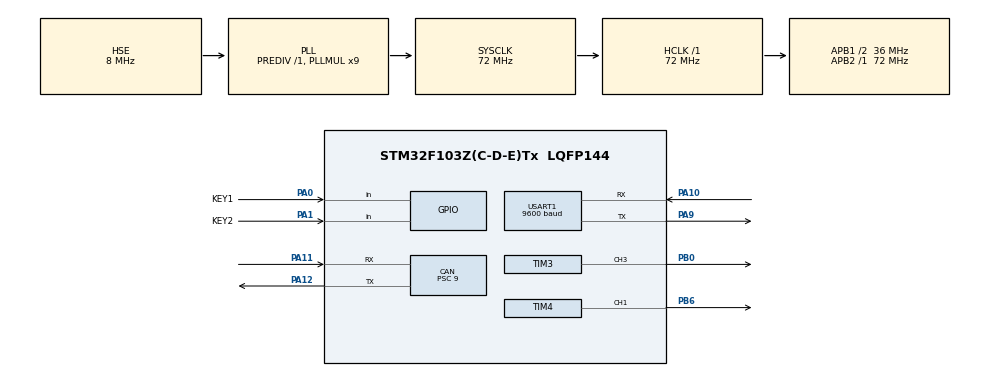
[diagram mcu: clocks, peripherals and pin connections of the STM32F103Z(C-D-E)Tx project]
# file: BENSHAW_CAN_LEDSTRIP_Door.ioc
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CAN.ABOM=ENABLE
CAN.BS1=CAN_BS1_5TQ
CAN.BS2=CAN_BS2_2TQ
CAN.CalculateTimeBit=750
CAN.CalculateTimeQuantum=250.0
CAN.Prescaler=9
CAN.SJW=CAN_SJW_3TQ
Dma.Request0=TIM3_CH3
Dma.Request1=TIM4_CH1
Dma.TIM3_CH3.0.Direction=DMA_MEMORY_TO_PERIPH
Dma.TIM3_CH3.0.Instance=DMA1_Channel2
Dma.TIM3_CH3.0.MemDataAlignment=DMA_MDATAALIGN_HALFWORD
Dma.TIM3_CH3.0.MemInc=DMA_MINC_ENABLE
Dma.TIM3_CH3.0.Mode=DMA_NORMAL
Dma.TIM3_CH3.0.PeriphDataAlignment=DMA_PDATAALIGN_HALFWORD
Dma.TIM3_CH3.0.PeriphInc=DMA_PINC_DISABLE
Dma.TIM3_CH3.0.Priority=DMA_PRIORITY_HIGH
Dma.TIM4_CH1.1.Direction=DMA_MEMORY_TO_PERIPH
Dma.TIM4_CH1.1.Instance=DMA1_Channel1
Dma.TIM4_CH1.1.MemDataAlignment=DMA_MDATAALIGN_HALFWORD
Dma.TIM4_CH1.1.MemInc=DMA_MINC_ENABLE
Dma.TIM4_CH1.1.Mode=DMA_NORMAL
Dma.TIM4_CH1.1.PeriphDataAlignment=DMA_PDATAALIGN_HALFWORD
Dma.TIM4_CH1.1.PeriphInc=DMA_PINC_DISABLE
Dma.TIM4_CH1.1.Priority=DMA_PRIORITY_HIGH
Mcu.Family=STM32F1
Mcu.Name=STM32F103Z(C-D-E)Tx
Mcu.Package=LQFP144
NVIC.DMA1_Channel1_IRQn=true\:0\:0\:false\:false\:true\:false
NVIC.DMA1_Channel2_IRQn=true\:0\:0\:false\:false\:true\:false
NVIC.PriorityGroup=NVIC_PRIORITYGROUP_2
NVIC.TIM3_IRQn=true\:2\:2\:true\:false\:true\:true
NVIC.TIM4_IRQn=true\:2\:2\:true\:false\:true\:true
NVIC.TIM6_IRQn=true\:2\:2\:true\:false\:true\:true
NVIC.USART1_IRQn=true\:0\:0\:false\:false\:true\:true
NVIC.USB_LP_CAN1_RX0_IRQn=true\:1\:1\:true\:false\:true\:true
OSC_IN.Mode=HSE-External-Oscillator
OSC_IN.Signal=RCC_OSC_IN
OSC_OUT.Mode=HSE-External-Oscillator
OSC_OUT.Signal=RCC_OSC_OUT
PA0-WKUP.GPIO_Label=KEY1
PA0-WKUP.GPIO_PuPd=GPIO_PULLUP
PA0-WKUP.Signal=GPIO_Input
PA1.GPIO_Label=KEY2
PA1.GPIO_PuPd=GPIO_PULLUP
PA1.Signal=GPIO_Input
PA10.Mode=Asynchronous
PA10.Signal=USART1_RX
PA11.Mode=Master
PA11.Signal=CAN_RX
PA12.Mode=Master
PA12.Signal=CAN_TX
PA13.Mode=Serial_Wire
PA13.Signal=SYS_JTMS-SWDIO
PA14.Mode=Serial_Wire
PA14.Signal=SYS_JTCK-SWCLK
PA9.Mode=Asynchronous
PA9.Signal=USART1_TX
PB0.GPIO_Speed=GPIO_SPEED_FREQ_HIGH
PB0.Signal=S_TIM3_CH3
PB6.GPIO_Speed=GPIO_SPEED_FREQ_HIGH
PB6.Signal=S_TIM4_CH1
ProjectManager.HeapSize=0x200
ProjectManager.StackSize=0x400
ProjectManager.TargetToolchain=MDK-ARM V5
RCC.AHBFreq_Value=72000000
RCC.APB1CLKDivider=RCC_HCLK_DIV2
RCC.APB1Freq_Value=36000000
RCC.APB1TimFreq_Value=72000000
RCC.APB2Freq_Value=72000000
RCC.APB2TimFreq_Value=72000000
RCC.HCLKFreq_Value=72000000
RCC.PLLMUL=RCC_PLL_MUL9
RCC.PLLSourceVirtual=RCC_PLLSOURCE_HSE
RCC.SYSCLKFreq_VALUE=72000000
RCC.SYSCLKSource=RCC_SYSCLKSOURCE_PLLCLK
RCC.USBFreq_Value=72000000
SH.S_TIM3_CH3.0=TIM3_CH3,PWM Generation3 CH3
SH.S_TIM4_CH1.0=TIM4_CH1,PWM Generation1 CH1
TIM3.AutoReloadPreload=TIM_AUTORELOAD_PRELOAD_ENABLE
TIM3.Channel-PWM\ Generation3\ CH3=TIM_CHANNEL_3
TIM3.Period=89
TIM4.AutoReloadPreload=TIM_AUTORELOAD_PRELOAD_ENABLE
TIM4.Channel-PWM\ Generation1\ CH1=TIM_CHANNEL_1
TIM4.Period=89
TIM6.AutoReloadPreload=TIM_AUTORELOAD_PRELOAD_ENABLE
TIM6.Period=9
TIM6.Prescaler=71
USART1.BaudRate=9600
USART1.VirtualMode=VM_ASYNC
VP_TIM6_VS_ClockSourceINT.Mode=Enable_Timer
board=custom

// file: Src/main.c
/**
  ******************************************************************************
  * @file           : main.c
  * @brief          : Main program body
  ******************************************************************************
  ** This notice applies to any and all portions of this file
  * that are not between comment pairs USER CODE BEGIN and
  * USER CODE END. Other portions of this file, whether
  * inserted by the user or by software development tools
  * are owned by their respective copyright owners.
  *
  * COPYRIGHT(c) 2018 STMicroelectronics
  *
  * Redistribution and use in source and binary forms, with or without modification,
  * are permitted provided that the following conditions are met:
  *   1. Redistributions of source code must retain the above copyright notice,
  *      this list of conditions and the following disclaimer.
  *   2. Redistributions in binary form must reproduce the above copyright notice,
  *      this list of conditions and the following disclaimer in the documentation
  *      and/or other materials provided with the distribution.
  *   3. Neither the name of STMicroelectronics nor the names of its contributors
  *      may be used to endorse or promote products derived from this software
  *      without specific prior written permission.
  *
  * THIS SOFTWARE IS PROVIDED BY THE COPYRIGHT HOLDERS AND CONTRIBUTORS "AS IS"
  * AND ANY EXPRESS OR IMPLIED WARRANTIES, INCLUDING, BUT NOT LIMITED TO, THE
  * IMPLIED WARRANTIES OF MERCHANTABILITY AND FITNESS FOR A PARTICULAR PURPOSE ARE
  * DISCLAIMED. IN NO EVENT SHALL THE COPYRIGHT HOLDER OR CONTRIBUTORS BE LIABLE
  * FOR ANY DIRECT, INDIRECT, INCIDENTAL, SPECIAL, EXEMPLARY, OR CONSEQUENTIAL
  * DAMAGES (INCLUDING, BUT NOT LIMITED TO, PROCUREMENT OF SUBSTITUTE GOODS OR
  * SERVICES; LOSS OF USE, DATA, OR PROFITS; OR BUSINESS INTERRUPTION) HOWEVER
  * CAUSED AND ON ANY THEORY OF LIABILITY, WHETHER IN CONTRACT, STRICT LIABILITY,
  * OR TORT (INCLUDING NEGLIGENCE OR OTHERWISE) ARISING IN ANY WAY OUT OF THE USE
  * OF THIS SOFTWARE, EVEN IF ADVISED OF THE POSSIBILITY OF SUCH DAMAGE.
  *
  ******************************************************************************
  */
#include "main.h"
#include "stm32f1xx_hal.h"

/* USER CODE BEGIN Includes */
#include "color_rgbw.h"
#include "usart.h"
#include "can.h"
#include "timer.h"
#include "ledstrip_rgbw.h"
/* USER CODE END Includes */

CAN_HandleTypeDef hcan;

TIM_HandleTypeDef htim3;
TIM_HandleTypeDef htim4;
TIM_HandleTypeDef htim6;
DMA_HandleTypeDef hdma_tim3_ch3;
DMA_HandleTypeDef hdma_tim4_ch1;

UART_HandleTypeDef huart1;

/* USER CODE BEGIN PV */
/* Private variables ---------------------------------------------------------*/

#define DELAY_MS1	10
#define	DELAY_MS2	5

volatile int flag_can = 0;
volatile int flag_tim3 = 0;
volatile int flag_tim4 = 0;

extern CanRxMsgTypeDef canRxMsg;

uint8_t (*color)[4] = &color_null;

static uint8_t res_tag = 0xff;
static uint8_t res_mov = 0xff;
static uint8_t res_color = 0xff;

/************** Atmosphere Lamp CAN ID **************/
#define positionID  0x0003          //position STDID
#define canTxID 	0x052f          //feedback STDID

uint8_t feedback_CAN_Buffer[8] = {0,0,0,0,0,0,0,0};

static uint8_t can_rxbuf;               //canRxbuffer[6]:target buffer
/* USER CODE END PV */

void SystemClock_Config(void);
static void MX_GPIO_Init(void);
static void MX_DMA_Init(void);
static void MX_TIM3_Init(void);
static void MX_TIM4_Init(void);
static void MX_TIM6_Init(void);
static void MX_USART1_UART_Init(void);
static void MX_CAN_Init(void);

void HAL_TIM_MspPostInit(TIM_HandleTypeDef *htim);

/* USER CODE BEGIN PFP */
/* Private function prototypes -----------------------------------------------*/

/* USER CODE END PFP */

int main(void)
{

  /* MCU Configuration----------------------------------------------------------*/

  /* Reset of all peripherals, Initializes the Flash interface and the Systick. */
  HAL_Init();

  /* Configure the system clock */
  SystemClock_Config();

  /* Initialize all configured peripherals */
  MX_GPIO_Init();
  MX_DMA_Init();
  MX_TIM3_Init();
  MX_TIM4_Init();
  MX_TIM6_Init();
  MX_USART1_UART_Init();
  MX_CAN_Init();
  /* USER CODE BEGIN 2 */
  Config_CanFilter();

	ledstrip1_rgbw_alloff();
  /* USER CODE END 2 */

  /* Infinite loop */
  while (1)
  {

  /* USER CODE BEGIN 3 */
	  if(flag_can)
	  {
		  flag_can = 0;

		  printf("can recieved !\n");
		  can_rxbuf = hcan.pRxMsg->Data[1];

		  res_tag = (can_rxbuf&0x7);
		  res_mov = (can_rxbuf&0x38)>>3;
		  res_color = (can_rxbuf>>6);

		  //printf("tag = %d , mov = %d , color = %d .\n",res_tag,res_mov,res_color);

		  if((res_tag == 0)||(res_tag == positionID))
		  {
			  switch((int)res_color)
			  {
				  case 0:
					  color = &color_white;
					  break;
				  case 1:
					  color = &color_blue;
					  break;
				  case 2:
					  color = &color_red;
					  break;
				  default:
					  color=&color_null;
					  break;
			  }

			  switch(res_mov)
			  {
				  case 0:
						break;
				  case 1:
						ledstrip1_rgbw_alloff();
						ledstrip2_rgbw_alloff();
						break;
				  case 2:
						ledstrip1_rgbw_perframe(lednumber1,lednumber1,color,color);
						ledstrip2_rgbw_perframe(lednumber2,lednumber2,color,color);
						break;
				  case 3:
						ledgroup_rgbw_flow(lednumber1,DELAY_MS1,color,&color_null);
						break;
				  case 4:
						ledgroup_rgbw_flow(lednumber1,DELAY_MS2,color,&color_null);
						break;
				  default:
						break;
			  }

			  sendCanData(canTxID,feedback_CAN_Buffer,8);

			  res_tag = 0xff;
			  res_mov = 0xff;
			  res_color = 0xff;
		  }
	}

  }
  /* USER CODE END 3 */

}

void SystemClock_Config(void)
{

  RCC_OscInitTypeDef RCC_OscInitStruct;
  RCC_ClkInitTypeDef RCC_ClkInitStruct;

    /**Initializes the CPU, AHB and APB busses clocks
    */
  RCC_OscInitStruct.OscillatorType = RCC_OSCILLATORTYPE_HSE;
  RCC_OscInitStruct.HSEState = RCC_HSE_ON;
  RCC_OscInitStruct.HSEPredivValue = RCC_HSE_PREDIV_DIV1;
  RCC_OscInitStruct.HSIState = RCC_HSI_ON;
  RCC_OscInitStruct.PLL.PLLState = RCC_PLL_ON;
  RCC_OscInitStruct.PLL.PLLSource = RCC_PLLSOURCE_HSE;
  RCC_OscInitStruct.PLL.PLLMUL = RCC_PLL_MUL9;
  if (HAL_RCC_OscConfig(&RCC_OscInitStruct) != HAL_OK)
  {
    _Error_Handler(__FILE__, __LINE__);
  }

    /**Initializes the CPU, AHB and APB busses clocks
    */
  RCC_ClkInitStruct.ClockType = RCC_CLOCKTYPE_HCLK|RCC_CLOCKTYPE_SYSCLK
                              |RCC_CLOCKTYPE_PCLK1|RCC_CLOCKTYPE_PCLK2;
  RCC_ClkInitStruct.SYSCLKSource = RCC_SYSCLKSOURCE_PLLCLK;
  RCC_ClkInitStruct.AHBCLKDivider = RCC_SYSCLK_DIV1;
  RCC_ClkInitStruct.APB1CLKDivider = RCC_HCLK_DIV2;
  RCC_ClkInitStruct.APB2CLKDivider = RCC_HCLK_DIV1;

  if (HAL_RCC_ClockConfig(&RCC_ClkInitStruct, FLASH_LATENCY_2) != HAL_OK)
  {
    _Error_Handler(__FILE__, __LINE__);
  }

    /**Configure the Systick interrupt time
    */
  HAL_SYSTICK_Config(HAL_RCC_GetHCLKFreq()/1000);

    /**Configure the Systick
    */
  HAL_SYSTICK_CLKSourceConfig(SYSTICK_CLKSOURCE_HCLK);

  /* SysTick_IRQn interrupt configuration */
  HAL_NVIC_SetPriority(SysTick_IRQn, 0, 0);
}

/* CAN init function */
static void MX_CAN_Init(void)
{

  hcan.Instance = CAN1;
  hcan.Init.Prescaler = 9;
  hcan.Init.Mode = CAN_MODE_NORMAL;
  hcan.Init.SJW = CAN_SJW_3TQ;
  hcan.Init.BS1 = CAN_BS1_5TQ;
  hcan.Init.BS2 = CAN_BS2_2TQ;
  hcan.Init.TTCM = DISABLE;
  hcan.Init.ABOM = ENABLE;
  hcan.Init.AWUM = DISABLE;
  hcan.Init.NART = DISABLE;
  hcan.Init.RFLM = DISABLE;
  hcan.Init.TXFP = DISABLE;
  if (HAL_CAN_Init(&hcan) != HAL_OK)
  {
    _Error_Handler(__FILE__, __LINE__);
  }

}

/* TIM3 init function */
static void MX_TIM3_Init(void)
{

  TIM_MasterConfigTypeDef sMasterConfig;
  TIM_OC_InitTypeDef sConfigOC;

  htim3.Instance = TIM3;
  htim3.Init.Prescaler = 0;
  htim3.Init.CounterMode = TIM_COUNTERMODE_UP;
  htim3.Init.Period = 89;
  htim3.Init.ClockDivision = TIM_CLOCKDIVISION_DIV1;
  htim3.Init.AutoReloadPreload = TIM_AUTORELOAD_PRELOAD_ENABLE;
  if (HAL_TIM_PWM_Init(&htim3) != HAL_OK)
  {
    _Error_Handler(__FILE__, __LINE__);
  }

  sMasterConfig.MasterOutputTrigger = TIM_TRGO_RESET;
  sMasterConfig.MasterSlaveMode = TIM_MASTERSLAVEMODE_DISABLE;
  if (HAL_TIMEx_MasterConfigSynchronization(&htim3, &sMasterConfig) != HAL_OK)
  {
    _Error_Handler(__FILE__, __LINE__);
  }

  sConfigOC.OCMode = TIM_OCMODE_PWM1;
  sConfigOC.Pulse = 0;
  sConfigOC.OCPolarity = TIM_OCPOLARITY_HIGH;
  sConfigOC.OCFastMode = TIM_OCFAST_DISABLE;
  if (HAL_TIM_PWM_ConfigChannel(&htim3, &sConfigOC, TIM_CHANNEL_3) != HAL_OK)
  {
    _Error_Handler(__FILE__, __LINE__);
  }

  HAL_TIM_MspPostInit(&htim3);

}

/* TIM4 init function */
static void MX_TIM4_Init(void)
{

  TIM_MasterConfigTypeDef sMasterConfig;
  TIM_OC_InitTypeDef sConfigOC;

  htim4.Instance = TIM4;
  htim4.Init.Prescaler = 0;
  htim4.Init.CounterMode = TIM_COUNTERMODE_UP;
  htim4.Init.Period = 89;
  htim4.Init.ClockDivision = TIM_CLOCKDIVISION_DIV1;
  htim4.Init.AutoReloadPreload = TIM_AUTORELOAD_PRELOAD_ENABLE;
  if (HAL_TIM_PWM_Init(&htim4) != HAL_OK)
  {
    _Error_Handler(__FILE__, __LINE__);
  }

  sMasterConfig.MasterOutputTrigger = TIM_TRGO_RESET;
  sMasterConfig.MasterSlaveMode = TIM_MASTERSLAVEMODE_DISABLE;
  if (HAL_TIMEx_MasterConfigSynchronization(&htim4, &sMasterConfig) != HAL_OK)
  {
    _Error_Handler(__FILE__, __LINE__);
  }

  sConfigOC.OCMode = TIM_OCMODE_PWM1;
  sConfigOC.Pulse = 0;
  sConfigOC.OCPolarity = TIM_OCPOLARITY_HIGH;
  sConfigOC.OCFastMode = TIM_OCFAST_DISABLE;
  if (HAL_TIM_PWM_ConfigChannel(&htim4, &sConfigOC, TIM_CHANNEL_1) != HAL_OK)
  {
    _Error_Handler(__FILE__, __LINE__);
  }

  HAL_TIM_MspPostInit(&htim4);

}

/* TIM6 init function */
static void MX_TIM6_Init(void)
{

  TIM_MasterConfigTypeDef sMasterConfig;

  htim6.Instance = TIM6;
  htim6.Init.Prescaler = 71;
  htim6.Init.CounterMode = TIM_COUNTERMODE_UP;
  htim6.Init.Period = 9;
  htim6.Init.AutoReloadPreload = TIM_AUTORELOAD_PRELOAD_ENABLE;
  if (HAL_TIM_Base_Init(&htim6) != HAL_OK)
  {
    _Error_Handler(__FILE__, __LINE__);
  }

  sMasterConfig.MasterOutputTrigger = TIM_TRGO_RESET;
  sMasterConfig.MasterSlaveMode = TIM_MASTERSLAVEMODE_DISABLE;
  if (HAL_TIMEx_MasterConfigSynchronization(&htim6, &sMasterConfig) != HAL_OK)
  {
    _Error_Handler(__FILE__, __LINE__);
  }

}

/* USART1 init function */
static void MX_USART1_UART_Init(void)
{

  huart1.Instance = USART1;
  huart1.Init.BaudRate = 9600;
  huart1.Init.WordLength = UART_WORDLENGTH_8B;
  huart1.Init.StopBits = UART_STOPBITS_1;
  huart1.Init.Parity = UART_PARITY_NONE;
  huart1.Init.Mode = UART_MODE_TX_RX;
  huart1.Init.HwFlowCtl = UART_HWCONTROL_NONE;
  huart1.Init.OverSampling = UART_OVERSAMPLING_16;
  if (HAL_UART_Init(&huart1) != HAL_OK)
  {
    _Error_Handler(__FILE__, __LINE__);
  }

}

static void MX_DMA_Init(void)
{
  /* DMA controller clock enable */
  __HAL_RCC_DMA1_CLK_ENABLE();

  /* DMA interrupt init */
  /* DMA1_Channel1_IRQn interrupt configuration */
  HAL_NVIC_SetPriority(DMA1_Channel1_IRQn, 0, 0);
  HAL_NVIC_EnableIRQ(DMA1_Channel1_IRQn);
  /* DMA1_Channel2_IRQn interrupt configuration */
  HAL_NVIC_SetPriority(DMA1_Channel2_IRQn, 0, 0);
  HAL_NVIC_EnableIRQ(DMA1_Channel2_IRQn);

}

/** Configure pins as
        * Analog
        * Input
        * Output
        * EVENT_OUT
        * EXTI
*/
static void MX_GPIO_Init(void)
{

  GPIO_InitTypeDef GPIO_InitStruct;

  /* GPIO Ports Clock Enable */
  __HAL_RCC_GPIOA_CLK_ENABLE();
  __HAL_RCC_GPIOB_CLK_ENABLE();

  /*Configure GPIO pins : KEY1_Pin KEY2_Pin */
  GPIO_InitStruct.Pin = KEY1_Pin|KEY2_Pin;
  GPIO_InitStruct.Mode = GPIO_MODE_INPUT;
  GPIO_InitStruct.Pull = GPIO_PULLUP;
  HAL_GPIO_Init(GPIOA, &GPIO_InitStruct);

}

void _Error_Handler(char *file, int line)
{
  while(1)
  {
  }
}

/************************ (C) COPYRIGHT STMicroelectronics *****END OF FILE****/
